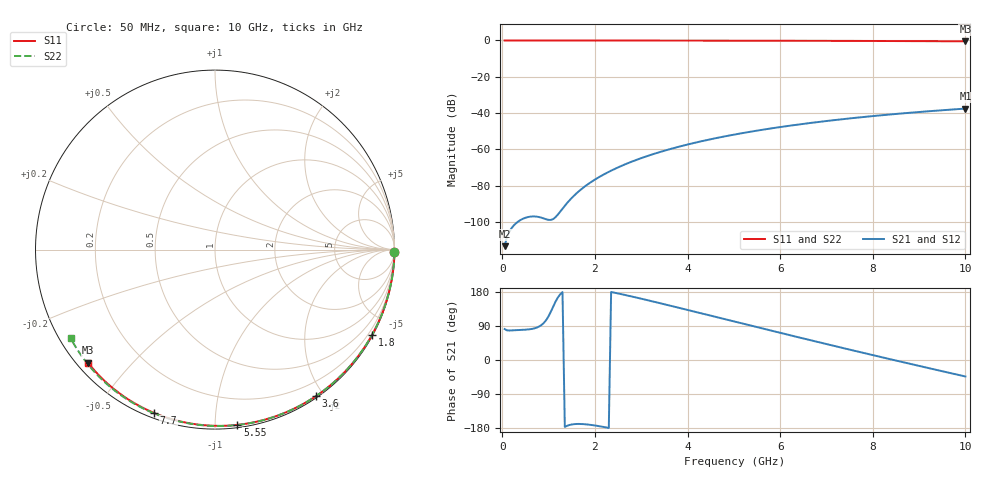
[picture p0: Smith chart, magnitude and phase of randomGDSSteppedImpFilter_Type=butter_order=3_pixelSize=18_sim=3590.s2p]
! freq	dB(S11)	phase(S11)	dB(S12)	phase(S12)
!  dB(S21)	phase(S21)	dB(S22)	phase(S22)
!S-par simulation data
#  GHz  S  DB  R 50
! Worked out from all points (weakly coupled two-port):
!   200 points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, 50 MHz to 10 GHz, reference 50 ohm
!   highest |S21| = -37.57 dB at 10 GHz (marker M1); lowest = -113.4 dB at 50 MHz (marker M2)
!   lowest |S11| = -0.5 dB at 10 GHz (marker M3), VSWR 37.05, Z = 1.54 - j19 ohm
!   |S11| at or under -10 dB: nowhere
!   |S22| runs from -0.5 to 0.0 dB; largest |S21 - S12| = 0
!   S11 on the Smith chart (normalised r, x): 50 MHz: open; 1.8 GHz: 0.03, -3.95; 3.6 GHz: 0.02, -1.90; 5.55 GHz: 0.02, -1.14; 7.7 GHz: 0.02, -0.69; 10 GHz: 0.03, -0.38
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0.05  -0.00 -0.8  -113.40 81.7  -113.40 81.7  -0.00 -0.9
0.45  -0.01 -7.2  -98.23 79.7  -98.23 79.7  -0.01 -7.7
0.9  -0.02 -14.3  -98.16 98.2  -98.16 98.2  -0.02 -15.3
1.3  -0.03 -20.6  -92.72 179.2  -92.72 179.2  -0.03 -22.0
1.75  -0.04 -27.6  -81.11 -169.2  -81.11 -169.2  -0.04 -29.5
1.8  -0.04 -28.4  -80.14 -169.7  -80.14 -169.7  -0.04 -30.3
2  -0.04 -31.5  -76.69 -172.7  -76.69 -172.7  -0.04 -33.6
2.15  -0.04 -33.8  -74.44 -175.8  -74.44 -175.8  -0.05 -36.0
2.5  -0.05 -39.1  -69.97 175.6  -69.97 175.6  -0.05 -41.7
2.9  -0.06 -45.1  -65.79 164.6  -65.79 164.6  -0.06 -48.1
3.4  -0.07 -52.5  -61.53 150.1  -61.53 150.1  -0.07 -56.0
3.6  -0.07 -55.4  -60.04 144.2  -60.04 144.2  -0.08 -59.1
3.9  -0.08 -59.8  -57.99 135.1  -57.99 135.1  -0.09 -63.7
4.3  -0.09 -65.5  -55.56 123.1  -55.56 123.1  -0.10 -69.8
5.05  -0.12 -75.9  -51.69 100.3  -51.69 100.3  -0.12 -80.9
5.55  -0.14 -82.7  -49.50 85.2  -49.50 85.2  -0.14 -88.1
6.1  -0.16 -90.0  -47.38 68.7  -47.38 68.7  -0.17 -95.9
6.7  -0.19 -97.8  -45.33 50.9  -45.33 50.9  -0.20 -104.2
7.7  -0.25 -110.4  -42.45 21.6  -42.45 21.6  -0.27 -117.7
8.35  -0.30 -118.4  -40.85 2.8  -40.85 2.8  -0.33 -126.4
9.2  -0.38 -128.7  -39.04 -21.2  -39.04 -21.2  -0.41 -137.7
10  -0.47 -138.4  -37.57 -43.5  -37.57 -43.5  -0.50 -148.4
